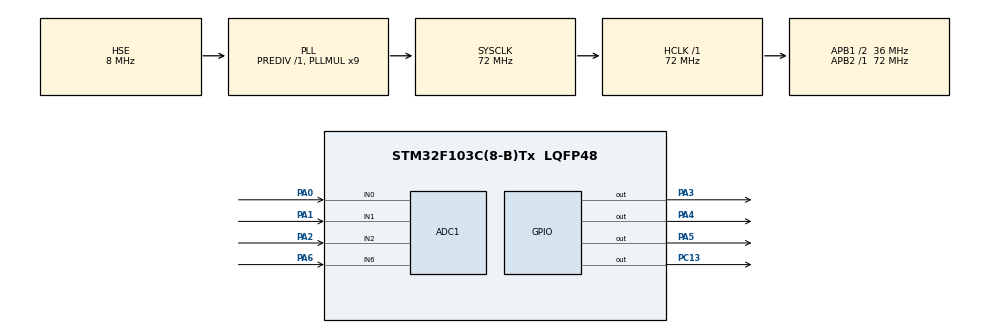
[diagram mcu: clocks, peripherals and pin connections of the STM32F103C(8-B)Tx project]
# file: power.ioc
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ADC1.Channel-0\#ChannelRegularConversion=ADC_CHANNEL_0
ADC1.Channel-1\#ChannelRegularConversion=ADC_CHANNEL_1
ADC1.Channel-2\#ChannelRegularConversion=ADC_CHANNEL_2
ADC1.Channel-3\#ChannelRegularConversion=ADC_CHANNEL_6
ADC1.ContinuousConvMode=ENABLE
ADC1.NbrOfConversion=4
ADC1.NbrOfConversionFlag=1
ADC1.Rank-0\#ChannelRegularConversion=1
ADC1.Rank-1\#ChannelRegularConversion=2
ADC1.Rank-2\#ChannelRegularConversion=3
ADC1.Rank-3\#ChannelRegularConversion=4
ADC1.SamplingTime-0\#ChannelRegularConversion=ADC_SAMPLETIME_13CYCLES_5
ADC1.SamplingTime-1\#ChannelRegularConversion=ADC_SAMPLETIME_13CYCLES_5
ADC1.SamplingTime-2\#ChannelRegularConversion=ADC_SAMPLETIME_13CYCLES_5
ADC1.SamplingTime-3\#ChannelRegularConversion=ADC_SAMPLETIME_13CYCLES_5
ADC1.master=1
Dma.ADC1.0.Direction=DMA_PERIPH_TO_MEMORY
Dma.ADC1.0.Instance=DMA1_Channel1
Dma.ADC1.0.MemDataAlignment=DMA_MDATAALIGN_WORD
Dma.ADC1.0.MemInc=DMA_MINC_ENABLE
Dma.ADC1.0.Mode=DMA_CIRCULAR
Dma.ADC1.0.PeriphDataAlignment=DMA_PDATAALIGN_WORD
Dma.ADC1.0.PeriphInc=DMA_PINC_DISABLE
Dma.ADC1.0.Priority=DMA_PRIORITY_LOW
Dma.Request0=ADC1
Mcu.Family=STM32F1
Mcu.Name=STM32F103C(8-B)Tx
Mcu.Package=LQFP48
NVIC.DMA1_Channel1_IRQn=true\:1\:0\:true\:false\:true\:false\:true
NVIC.PriorityGroup=NVIC_PRIORITYGROUP_4
NVIC.TIM3_IRQn=true\:0\:0\:false\:false\:true\:true\:true
PA0-WKUP.Signal=ADCx_IN0
PA1.Signal=ADCx_IN1
PA2.Signal=ADCx_IN2
PA3.Signal=GPIO_Output
PA4.Signal=GPIO_Output
PA5.Signal=GPIO_Output
PA6.Signal=ADCx_IN6
PC13-TAMPER-RTC.GPIO_PuPd=GPIO_PULLUP
PC13-TAMPER-RTC.Signal=GPIO_Output
PD0-OSC_IN.Mode=HSE-External-Oscillator
PD0-OSC_IN.Signal=RCC_OSC_IN
PD1-OSC_OUT.Mode=HSE-External-Oscillator
PD1-OSC_OUT.Signal=RCC_OSC_OUT
ProjectManager.HeapSize=0x200
ProjectManager.StackSize=0x400
ProjectManager.TargetToolchain=MDK-ARM V5
RCC.ADCPresc=RCC_ADCPCLK2_DIV8
RCC.AHBFreq_Value=72000000
RCC.APB1CLKDivider=RCC_HCLK_DIV2
RCC.APB1Freq_Value=36000000
RCC.APB1TimFreq_Value=72000000
RCC.APB2Freq_Value=72000000
RCC.APB2TimFreq_Value=72000000
RCC.HCLKFreq_Value=72000000
RCC.PLLMUL=RCC_PLL_MUL9
RCC.PLLSourceVirtual=RCC_PLLSOURCE_HSE
RCC.SYSCLKFreq_VALUE=72000000
RCC.SYSCLKSource=RCC_SYSCLKSOURCE_PLLCLK
RCC.USBFreq_Value=72000000
SH.ADCx_IN0.0=ADC1_IN0,IN0
SH.ADCx_IN1.0=ADC1_IN1,IN1
SH.ADCx_IN2.0=ADC1_IN2,IN2
SH.ADCx_IN6.0=ADC1_IN6,IN6
TIM3.Period=2-1
TIM3.Prescaler=12-1
VP_SYS_VS_ND.Mode=No_Debug
VP_TIM3_VS_ClockSourceINT.Mode=Internal
board=custom

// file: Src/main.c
/* USER CODE BEGIN Header */
/**
  ******************************************************************************
  * @file           : main.c
  * @brief          : Main program body
  ******************************************************************************
  * @attention
  *
  * <h2><center>&copy; Copyright (c) 2019 STMicroelectronics.
  * All rights reserved.</center></h2>
  *
  * This software component is licensed by ST under BSD 3-Clause license,
  * the "License"; You may not use this file except in compliance with the
  * License. You may obtain a copy of the License at:
  *                        opensource.org/licenses/BSD-3-Clause
  *
  ******************************************************************************
  */
/* USER CODE END Header */

#include "main.h"
#include "adc.h"
#include "dma.h"
#include "tim.h"
#include "gpio.h"

void SystemClock_Config(void);

/* USER CODE BEGIN 0 */
int cap_volt;
int cap_volt_exp=1900;
int out_volt;
int out_volt_exp=2400;
int cap_rate;
int out_rate;
int pow_volt;
int pow_volt_tmp;
int cap_volt_tmp;
int out_volt_tmp;
uint32_t adcData[40];
/* USER CODE END 0 */

int main(void)
{

  /* MCU Configuration--------------------------------------------------------*/

  /* Reset of all peripherals, Initializes the Flash interface and the Systick. */
  HAL_Init();

  /* Configure the system clock */
  SystemClock_Config();

  /* Initialize all configured peripherals */
  MX_GPIO_Init();
  MX_DMA_Init();
  MX_ADC1_Init();
  MX_TIM3_Init();
  /* USER CODE BEGIN 2 */
	pid_init(0,0.01f,0.0f,0.0f,0.0f,2.0f);
	pid_init(1,0.1f,0.0f,0.0f,0.0f,5.0f);

	HAL_ADC_Start_DMA(&hadc1,adcData,40);
	HAL_Delay(500);
	HAL_TIM_Base_Start_IT(&htim3);
	HAL_GPIO_WritePin(GPIOC,GPIO_PIN_13,GPIO_PIN_SET);
  /* USER CODE END 2 */

  /* Infinite loop */
  while (1)
  {

  }
}

void SystemClock_Config(void)
{
  RCC_OscInitTypeDef RCC_OscInitStruct = {0};
  RCC_ClkInitTypeDef RCC_ClkInitStruct = {0};
  RCC_PeriphCLKInitTypeDef PeriphClkInit = {0};

  /** Initializes the CPU, AHB and APB busses clocks
  */
  RCC_OscInitStruct.OscillatorType = RCC_OSCILLATORTYPE_HSE;
  RCC_OscInitStruct.HSEState = RCC_HSE_ON;
  RCC_OscInitStruct.HSEPredivValue = RCC_HSE_PREDIV_DIV1;
  RCC_OscInitStruct.HSIState = RCC_HSI_ON;
  RCC_OscInitStruct.PLL.PLLState = RCC_PLL_ON;
  RCC_OscInitStruct.PLL.PLLSource = RCC_PLLSOURCE_HSE;
  RCC_OscInitStruct.PLL.PLLMUL = RCC_PLL_MUL9;
  if (HAL_RCC_OscConfig(&RCC_OscInitStruct) != HAL_OK)
  {
    Error_Handler();
  }
  /** Initializes the CPU, AHB and APB busses clocks
  */
  RCC_ClkInitStruct.ClockType = RCC_CLOCKTYPE_HCLK|RCC_CLOCKTYPE_SYSCLK
                              |RCC_CLOCKTYPE_PCLK1|RCC_CLOCKTYPE_PCLK2;
  RCC_ClkInitStruct.SYSCLKSource = RCC_SYSCLKSOURCE_PLLCLK;
  RCC_ClkInitStruct.AHBCLKDivider = RCC_SYSCLK_DIV1;
  RCC_ClkInitStruct.APB1CLKDivider = RCC_HCLK_DIV2;
  RCC_ClkInitStruct.APB2CLKDivider = RCC_HCLK_DIV1;

  if (HAL_RCC_ClockConfig(&RCC_ClkInitStruct, FLASH_LATENCY_2) != HAL_OK)
  {
    Error_Handler();
  }
  PeriphClkInit.PeriphClockSelection = RCC_PERIPHCLK_ADC;
  PeriphClkInit.AdcClockSelection = RCC_ADCPCLK2_DIV8;
  if (HAL_RCCEx_PeriphCLKConfig(&PeriphClkInit) != HAL_OK)
  {
    Error_Handler();
  }
}

void Error_Handler(void)
{
}

/************************ (C) COPYRIGHT STMicroelectronics *****END OF FILE****/
